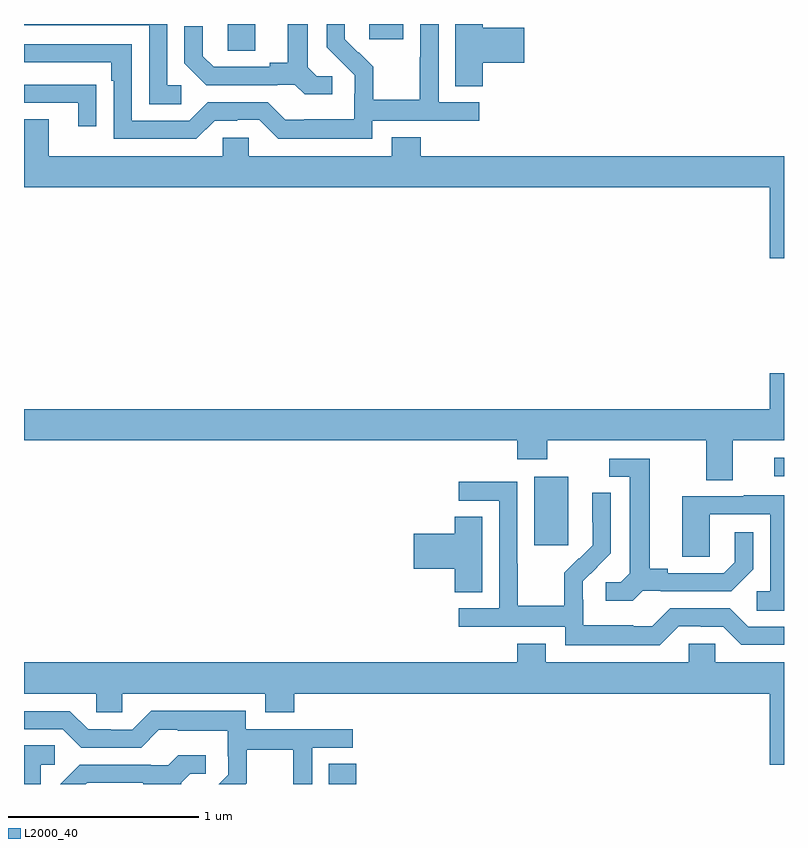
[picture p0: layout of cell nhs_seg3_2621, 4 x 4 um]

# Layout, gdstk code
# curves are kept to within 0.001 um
import gdstk
lib = gdstk.Library(unit=1e-6, precision=1e-09)
def R(c, l, rs):  # rectangles x0, y0, x1, y1
    for r in rs: c.add(gdstk.rectangle(r[:2], r[2:], *l))
def P(c, l, *ps):  # polygons
    for p in ps: c.add(gdstk.Polygon(p, *l))
L2000_40 = (2000, 40)

nhs_seg3_2621 = lib.new_cell('nhs_seg3_2621')
R(nhs_seg3_2621, L2000_40, [(246.605,740.4,246.749,740.507), (247.685,741.657,247.864,742.018), (248.949,742.02,249,742.116), (246.072,744.259,246.217,744.4), (246.818,744.321,246.997,744.4)])
P(nhs_seg3_2621, L2000_40, [(247.415,744.197),(247.633,744.197),(247.633,744.38),(247.415,744.38),(247.415,744.4),(247.271,744.4),(247.271,744.073),(247.415,744.073)],
  [(246.622,744.126),(246.54,744.126),(246.493,744.173),(246.493,744.4),(246.389,744.4),(246.389,744.197),(246.293,744.197),(246.293,744.174),(245.998,744.174),(245.941,744.231),(245.941,744.388),(245.844,744.388),(245.844,744.194),(245.96,744.078),(246.332,744.078),(246.332,744.081),(246.426,744.081),(246.478,744.029),(246.622,744.029)],
  [(246.834,743.892),(247.396,743.892),(247.396,743.988),(247.182,743.988),(247.182,744.4),(247.086,744.4),(247.086,744.224),(247.084,744.224),(247.084,744.001),(246.839,744.001),(246.839,744.175),(246.762,744.252),(246.759,744.249),(246.689,744.32),(246.689,744.4),(246.594,744.4),(246.594,744.278),(246.74,744.13),(246.74,744.033),(246.738,744.033),(246.738,743.899),(246.475,743.899),(246.475,743.895),(246.375,743.895),(246.282,743.988),(245.967,743.988),(245.871,743.892),(245.568,743.892),(245.568,744.294),(245,744.294),(245,744.198),(245.459,744.198),(245.459,744.101),(245.472,744.101),(245.472,743.796),(245.907,743.796),(246.003,743.892),(246.122,743.892),(246.122,743.895),(246.237,743.895),(246.337,743.795),(246.834,743.795)],
  [(245.827,744.078),(245.754,744.078),(245.754,744.4),(245,744.4),(245,744.393),(245.658,744.393),(245.658,743.977),(245.827,743.977)],
  [(245.381,744.08),(245.279,744.08),(245.279,744.081),(245,744.081),(245,743.985),(245.285,743.985),(245.285,743.862),(245.381,743.862)],
  [(249,743.704),(247.088,743.704),(247.088,743.803),(246.935,743.803),(246.935,743.704),(246.183,743.704),(246.183,743.802),(246.045,743.802),(246.045,743.704),(245.131,743.704),(245.131,743.899),(245,743.899),(245,743.54),(248.924,743.54),(248.924,743.166),(249,743.166)],
  [(248.731,742.208),(249,742.208),(249,742.561),(248.924,742.561),(248.924,742.372),(245,742.372),(245,742.208),(247.595,742.208),(247.595,742.109),(247.755,742.109),(247.755,742.208),(248.591,742.208),(248.591,742),(248.731,742)],
  [(248.256,741.417),(248.35,741.417),(248.35,741.414),(248.722,741.414),(248.838,741.53),(248.838,741.724),(248.741,741.724),(248.741,741.567),(248.684,741.51),(248.389,741.51),(248.389,741.533),(248.293,741.533),(248.293,742.113),(248.079,742.113),(248.079,742.017),(248.189,742.017),(248.189,741.509),(248.142,741.462),(248.061,741.462),(248.061,741.365),(248.204,741.365)],
  [(248.445,741.231),(248.561,741.231),(248.561,741.228),(248.679,741.228),(248.775,741.132),(249,741.132),(249,741.228),(248.811,741.228),(248.715,741.324),(248.4,741.324),(248.307,741.231),(248.207,741.231),(248.207,741.235),(247.944,741.235),(247.944,741.369),(247.942,741.369),(247.942,741.466),(248.088,741.614),(248.088,741.932),(247.992,741.932),(247.992,741.778),(247.994,741.778),(247.994,741.656),(247.923,741.585),(247.92,741.588),(247.843,741.511),(247.843,741.337),(247.599,741.337),(247.599,741.56),(247.596,741.56),(247.596,741.99),(247.287,741.99),(247.287,741.891),(247.5,741.891),(247.5,741.324),(247.287,741.324),(247.287,741.228),(247.848,741.228),(247.848,741.131),(248.345,741.131)],
  [(249,741.919),(248.789,741.919),(248.789,741.915),(248.465,741.915),(248.465,741.595),(248.61,741.595),(248.61,741.819),(248.928,741.819),(248.928,741.414),(248.856,741.414),(248.856,741.313),(249,741.313)],
  [(247.411,741.806),(247.268,741.806),(247.268,741.716),(247.05,741.716),(247.05,741.533),(247.268,741.533),(247.268,741.409),(247.411,741.409)],
  [(249,741.04),(248.637,741.04),(248.637,741.138),(248.499,741.138),(248.499,741.04),(247.747,741.04),(247.747,741.139),(247.595,741.139),(247.595,741.04),(245,741.04),(245,740.876),(245.379,740.876),(245.379,740.778),(245.517,740.778),(245.517,740.876),(246.269,740.876),(246.269,740.777),(246.422,740.777),(246.422,740.876),(248.924,740.876),(248.924,740.502),(249,740.502)],
  [(246.173,740.405),(246.173,740.58),(246.418,740.58),(246.418,740.4),(246.516,740.4),(246.516,740.592),(246.73,740.592),(246.73,740.688),(246.168,740.688),(246.168,740.785),(245.671,740.785),(245.571,740.685),(245.456,740.685),(245.456,740.688),(245.337,740.688),(245.241,740.784),(245,740.784),(245,740.688),(245.205,740.688),(245.301,740.592),(245.616,740.592),(245.709,740.685),(245.809,740.685),(245.809,740.681),(246.072,740.681),(246.072,740.547),(246.074,740.547),(246.074,740.45),(246.024,740.4),(246.168,740.4)],
  [(245.088,740.502),(245.161,740.502),(245.161,740.603),(245,740.603),(245,740.4),(245.088,740.4)],
  [(245.332,740.406),(245.627,740.406),(245.627,740.4),(245.827,740.4),(245.827,740.407),(245.874,740.454),(245.956,740.454),(245.956,740.551),(245.812,740.551),(245.76,740.499),(245.666,740.499),(245.666,740.502),(245.294,740.502),(245.192,740.4),(245.326,740.4)])

lib.write_gds('nhs_seg3_2621.gds')
